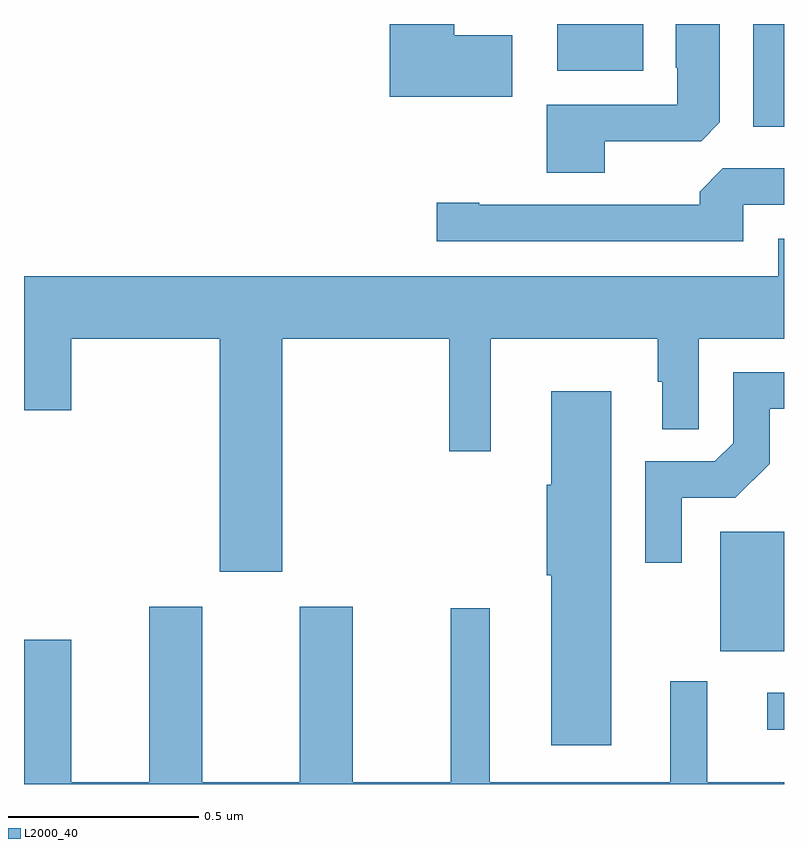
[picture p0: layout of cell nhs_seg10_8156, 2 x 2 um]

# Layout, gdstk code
import gdstk
lib = gdstk.Library(unit=1e-6, precision=1e-09)
def R(c, l, rs):  # rectangles x0, y0, x1, y1
    for r in rs: c.add(gdstk.rectangle(r[:2], r[2:], *l))
def P(c, l, *ps):  # polygons
    for p in ps: c.add(gdstk.Polygon(p, *l))
L2000_40 = (2000, 40)

nhs_seg10_8156 = lib.new_cell('nhs_seg10_8156')
R(nhs_seg10_8156, L2000_40, [(214.956,1276.643,215,1276.74), (214.832,1276.85,215,1277.164), (214.919,1278.23,215,1278.5), (214.403,1278.377,214.63,1278.5)])
P(nhs_seg10_8156, L2000_40, [(214.285,1278.471),(214.132,1278.471),(214.132,1278.5),(213.962,1278.5),(213.962,1278.308),(214.285,1278.308)],
  [(214.528,1278.192),(214.782,1278.192),(214.831,1278.241),(214.831,1278.5),(214.715,1278.5),(214.715,1278.385),(214.719,1278.385),(214.719,1278.288),(214.376,1278.288),(214.376,1278.109),(214.528,1278.109)],
  [(214.893,1278.024),(215,1278.024),(215,1278.12),(214.839,1278.12),(214.778,1278.058),(214.778,1278.024),(214.198,1278.024),(214.198,1278.029),(214.086,1278.029),(214.086,1277.928),(214.893,1277.928)],
  [(213.679,1277.672),(214.119,1277.672),(214.119,1277.376),(214.228,1277.376),(214.228,1277.672),(214.668,1277.672),(214.668,1277.559),(214.679,1277.559),(214.679,1277.434),(214.776,1277.434),(214.776,1277.672),(215,1277.672),(215,1277.935),(214.985,1277.935),(214.985,1277.836),(213,1277.836),(213,1277.484),(213.124,1277.484),(213.124,1277.672),(213.515,1277.672),(213.515,1277.058),(213.679,1277.058)],
  [(214.731,1277.253),(214.872,1277.253),(214.962,1277.343),(214.962,1277.487),(215,1277.487),(215,1277.583),(214.866,1277.583),(214.866,1277.397),(214.818,1277.349),(214.635,1277.349),(214.635,1277.082),(214.731,1277.082)],
  [(214.546,1277.533),(214.388,1277.533),(214.388,1277.288),(214.376,1277.288),(214.376,1277.05),(214.388,1277.05),(214.388,1276.602),(214.546,1276.602)],
  [(215,1276.504),(214.798,1276.504),(214.798,1276.771),(214.7,1276.771),(214.7,1276.504),(214.225,1276.504),(214.225,1276.963),(214.123,1276.963),(214.123,1276.504),(213.865,1276.504),(213.865,1276.966),(213.725,1276.966),(213.725,1276.504),(213.469,1276.504),(213.469,1276.966),(213.329,1276.966),(213.329,1276.504),(213.124,1276.504),(213.124,1276.879),(213,1276.879),(213,1276.5),(215,1276.5)])

lib.write_gds('nhs_seg10_8156.gds')
